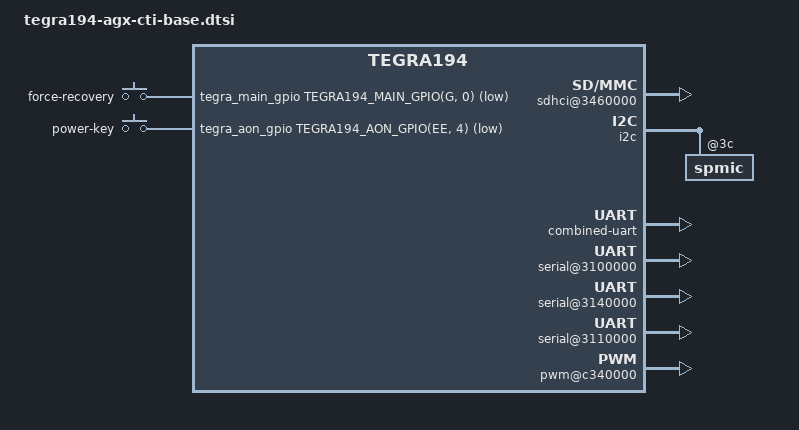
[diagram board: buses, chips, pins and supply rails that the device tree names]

#include <t19x-common-modules/tegra194-cvm-p2888-0000-a00.dtsi>
#include <t19x-common-platforms/tegra194-no-pll-aon-clock.dtsi>
#include <t19x-common-platforms/tegra194-platforms-eqos.dtsi>

#include "cti_common/tegra194-agx-cti-power-tree.dtsi"
#include "cti_common/tegra194-agx-cti-usb.dtsi"
#include "cti_common/tegra194-agx-cti-pcie.dtsi"
#include "cti_common/tegra194-agx-cti-plugin-manager.dtsi"
#include "cti_common/tegra194-agx-cti-display.dtsi"

#include "../common/tegra194-thermal-p2888.dtsi"
#include "../common/tegra194-powermon-p2888.dtsi"


/ {
    nvidia,dtbbuildtime = __DATE__, __TIME__;
    nvidia,fastboot-usb-vid = <0x0955>;
    nvidia,fastboot-usb-pid = <0xee1e>;

    compatible = "nvidia,galen", "nvidia,jetson-xavier", \
                 "nvidia,p2822-0000+p2888-0001", "nvidia,tegra194";

    chosen {
        bootargs ="console=ttyTCU0,115200 mem=62G@2G";
        board-has-eeprom;
    };

       aliases {
                rtc0 = &tegra_rtc;
                rtc1 = &p2888_spmic;
        };



    firmware {
        android {
            compatible = "android,firmware";
            hardware = "galen";
            vbmeta {
                compatible = "android,vbmeta";
                parts = "vbmeta,kernel,kernel-dtb,APP,vendor,SOS";
            };
            fstab {
                compatible = "android,fstab";
                vendor {
                    compatible = "android,vendor";
                    dev = "/dev/block/platform/3460000.sdhci/by-name/vendor";
                    type = "ext4";
                    mnt_flags = "ro";
                    fsmgr_flags = "wait,avb";
                };
                odm {
                    compatible = "android,odm";
                    dev = "/dev/block/platform/3460000.sdhci/by-name/odm";
                    type = "ext4";
                    mnt_flags = "ro";
                    fsmgr_flags = "wait,avb";
                };
            };
        };
    };

    sdhci@3460000 {
        uhs-mask = <0x0>;
        supports-cqe;
        status = "okay";
    };

    sdhci@3400000 {
        mmc-ocr-mask = <0x0>;
        cd-gpios = <&tegra_main_gpio TEGRA194_MAIN_GPIO(G, 7) 0>;
        nvidia,cd-wakeup-capable;
        nvidia,vmmc-always-on;
        status = "disabled";
    };

    gpio-keys {
        compatible = "gpio-keys";
        gpio-keys,name = "gpio-keys";

        forcerecovery {
            label = "force-recovery";
            gpios = <&tegra_main_gpio TEGRA194_MAIN_GPIO(G, 0) GPIO_ACTIVE_LOW>;
            linux,code = <BTN_1>;
        };

        power_key {
            label = "power-key";
            gpios = <&tegra_aon_gpio TEGRA194_AON_GPIO(EE, 4) GPIO_ACTIVE_LOW>;
            linux,code = <KEY_POWER>;
            gpio-key,wakeup;
        };
    };

    soft_wdt: soft_watchdog {
        compatible = "softdog-platform";
        status = "okay";
    };

    gte@c1e0000 {
        status = "okay";
    };

    gpio@c2f0000 {
        /delete-property/ use-timestamp;
    };

    /* FIXME: K5.4 overrides */
    bpmp {
        i2c {
            spmic@3c {
                interrupt-parent = <&intc>;
                interrupts = <GIC_SPI 209 IRQ_TYPE_LEVEL_HIGH>;
            };
        };
    };

    hda@3510000 {
        power-domains = <&bpmp TEGRA194_POWER_DOMAIN_DISP>;
        resets = <&bpmp TEGRA194_RESET_HDA>,
                 <&bpmp TEGRA194_RESET_HDA2CODEC_2X>,
                 <&bpmp TEGRA194_RESET_HDA2HDMICODEC>;
        reset-names = "hda", "hda2codec_2x", "hda2hdmi";
    };

    combined-uart {
        console-port;
        combined-uart;
        status = "okay";
    };
	
	
	//can port need clocks configured
	
	mttcan@c310000 {
		status = "disabled";
		/*pll_source = "pllaon";
		clocks = <&bpmp_clks TEGRA194_CLK_CAN1_CORE>,
				 <&bpmp_clks TEGRA194_CLK_CAN1_HOST>,
				 <&bpmp_clks TEGRA194_CLK_CAN1>,
				 <&bpmp_clks TEGRA194_CLK_OSC>,
				 <&bpmp_clks TEGRA194_CLK_PLLAON>;
		clock-names = "can_core", "can_host","can", "osc", "pllaon";*/
	};

	mttcan@c320000 {
		status = "disabled";
		/*pll_source = "pllaon";
		clocks = <&bpmp_clks TEGRA194_CLK_CAN2_CORE>,
				 <&bpmp_clks TEGRA194_CLK_CAN2_HOST>,
				 <&bpmp_clks TEGRA194_CLK_CAN2>,
				 <&bpmp_clks TEGRA194_CLK_OSC>,
				 <&bpmp_clks TEGRA194_CLK_PLLAON>;
		clock-names = "can_core", "can_host","can", "osc", "pllaon";*/
	};

    serial@3100000 {
        compatible = "nvidia,tegra194-hsuart";
    };

    serial@3140000 {
        compatible = "nvidia,tegra186-hsuart";
    };

    serial@3110000 {
        compatible = "nvidia,tegra186-hsuart";
    };

    tegra-cache {
        status = "okay";
    };

    arm-pmu {
        status = "okay";
    };

    power-domain {
        status = "disabled";
    };

    interrupt-controller {
        status = "disabled";
    };

    mods-simple-bus {
        status = "disabled";
    };

    //PN: Maybe no longer needed?
    eeprom-manager {
        status = "disabled";
        data-size = <0x100>;
        bus@0 {
            i2c-bus = <&gen1_i2c>;
            eeprom@0 {
                slave-address = <0x50>;
                label = "cvm";
            };
            eeprom@1 {
                slave-address = <0x56>;
            };
        };
        bus@1 {
            i2c-bus = <&cam_i2c>;
            eeprom@0 {
                slave-address = <0x54>;
            };
            eeprom@1 {
                slave-address = <0x57>;
            };
            eeprom@2 {
                slave-address = <0x52>;
            };
        };
        bus@2 {
            i2c-bus = <&gen2_i2c>;
            eeprom@0 {
                slave-address = <0x52>;
                label = "cvm";
            };
            eeprom@1 {
                slave-address = <0x50>;
            };
        };

    };

    cpuidle {
        compatible = "nvidia,tegra19x-cpuidle";
        status = "okay";
    };

    thermal-zones {
        status = "disabled";
    };

    reserved-memory {
        ramoops_carveout {
            status = "okay";
        };
    };

    host1x@13e00000 {
        dpaux@155F0000 {
            status = "okay";
            compatible = "nvidia,tegra194-dpaux3-padctl";

            dpaux_default: pinmux@0 {
                dpaux3_pins {
                    pins = "dpaux3-3";
                    function = "i2c";
                };
            };
        };
    };

    ufshci@2450000 {
        status = "disabled";
        nvidia,enable-hs-mode;
        nvidia,cd-gpios = <&tegra_aon_gpio TEGRA194_AON_GPIO(EE, 0) GPIO_ACTIVE_HIGH>;
        nvidia,cd-wakeup-capable;
    };

    pwm@c340000 {
        status = "okay";
    };

    pfsd {
        pwm_polarity= <PWM_POLARITY_NORMAL>;
        suspend_state = <0>;
    };

    tachometer@39c0000 {
        status = "okay";
    };

    efuse-burn {
        nvidia,tz = <&pllx>;
        nvidia,temp-range = <(-19000) 117000>;
    };

    tegra_udrm: tegra_udrm {
        compatible = "nvidia,tegra-udrm";
        status = "okay";
    };

    nvsciipc-kernel {
        compatible = "nvidia,nvsciipc";
        status = "okay";
    };

    clocks-init {
        compatible = "nvidia,clocks-config";
        status = "okay";
        disable {
            clocks = <&aon_clks TEGRA194_CLK_PLLAON>,
                     <&bpmp_clks TEGRA194_CLK_CAN1>,
                     <&bpmp_clks TEGRA194_CLK_CAN2>;
        };
    };

    tegra-hsp@b950000 {
        status = "okay";
    };

    rtcpu@bc00000 {
        status = "okay";
        nvidia,cmd-timeout = <2000>;
    };

    i2c@c240000 {
        multi-master;   //PN: Check if needed
    };

    hardwood {
        compatible = "nvidia,denver-hardwood";
        interrupts = <0 24 0x4>;
    };
};

#if LINUX_VERSION >= 414
#include <tegra194-linux-4.14.dtsi>
#endif

